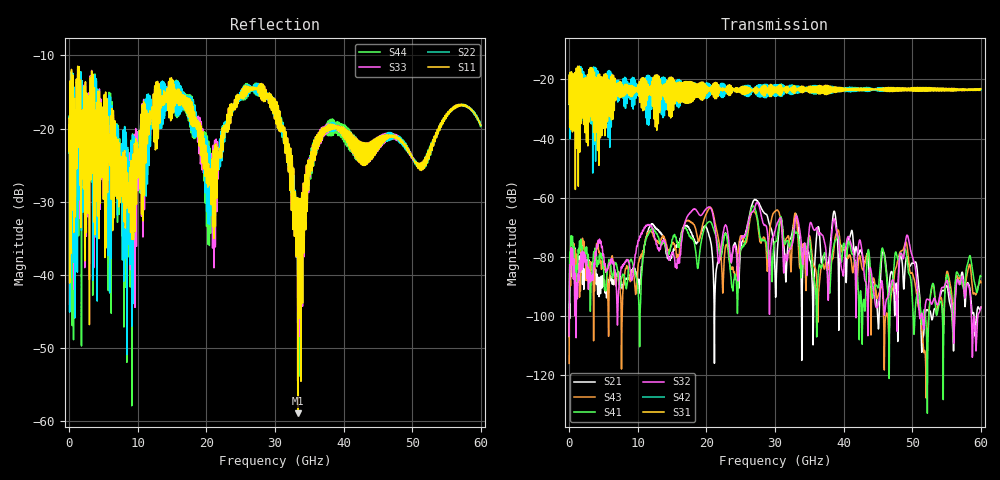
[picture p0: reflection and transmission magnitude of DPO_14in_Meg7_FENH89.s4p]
! Tyco Electronics Strada Whisper System
! FEXT_H89_G1112
!! SYSTEM DESCRIPTION: Daughtercard-Footprint-Connector-Footprint-Daughtercard
!! PCB DESCRIPTION: DC: 140mil, Megtron7N, upper layer route, 15mil stub, 6-6-6mil 14" traces
!! CONNECTOR DESCRIPTION: Next-Gen STRADA Whisper Direct-Plug Orthogonal Connector
!! MODEL DESCRIPTION: Tyco Electronics System 4-port S-parameter
!! MODEL STATUS: Developmental
!! MODEL GEOMETRY: Channel Model
!! MODEL FREQUENCY RANGE: DC to 60 GHz in 10 MHz frequency steps
!! MODEL EDGE RATE LIMITATION: 8.3 ps (Using conservative 0.5/Fmax rule of thumb)
!! TIME-DOMAIN TRANSFORM CAUTIONS:
!! 1.) Do not simulate transient edge rates faster than the number listed above.  Edge rates faster than this number
!!  contain significant spectral content at frequencies above the model's highest frequency.
!! 2.) Even when simulating edge rates that are slower than the number listed above, be aware that the best time
!!  resolution possible with a direct iFFT is (1 / 2Fmax).  As a result, time resolution is typically not adequate
!!  for most time-domain simulations unless tricks such as windowing are used to minimize leakage and aliasing.
!! 3.) Because the model has a uniform frequency step, a direct iFFT will result in an impulse that that has a time
!!  length given by either (1 / Fstep) or (1 / 2Fstep), depending on the transform being used.  Care has been taken
!!  in selecting the frequency step to ensure a settled impulse response for the model.  Therefore, convolution with
!!  the model's impulse response should present no issues.  However, if directly concatenating s-parameter models
!!  in the frequency domain a user must either interpolate necessary interim frequencies or complete impulse response
!!  zero-padding.  Impulse response zero-padding is more difficult, but more accurate.
!! PORT DEFINITIONS:
!! Port  1  ----->  TX Side	H8  G11  RX Side  <-----  Port  3
!! Port  2  ----->  TX Side	H9  G12  RX Side  <-----  Port  4
!!!!!!!!!!!!!!!!!!!!!!!!!!!!!!!!!!!!!!!!!!!!!!!!!!!!!!!!!!!!!!!!!!!!!!!!!!!!!!!!!!!!!!!!!!!!!!!!!!!!!!!!!!!!!!!!!!!!!!!!! Touchstone data
! Created: 10-Dec-2018 by IdEM R2012 (8.0.5)
# Hz S MA R 50
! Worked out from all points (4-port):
!   6000 points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, 10 MHz to 60 GHz, reference 50 ohm
!   strongest paths, dB at 10 MHz, 15.01 GHz, 30.01 GHz, 45.01 GHz, 60 GHz:
!     S31: -28.4, -30.5, -23.0, -23.2, -23.2
!     S42: -28.4, -22.0, -24.2, -23.2, -23.6
!     S32: -106.6, -78.4, -71.3, -96.3, -96.9
!     S41: -102.0, -74.1, -74.9, -90.4, -86.5
!     S43: -115.9, -75.4, -64.7, -93.2, -88.7
!     S21: -107.0, -78.5, -85.6, -102.6, -97.0
!   lowest |S11| = -59.0 dB at 33.32 GHz (marker M1), VSWR 1.00, Z = 50 - j0.105 ohm
!   |S11| at or under -10 dB: start of sweep to end of sweep
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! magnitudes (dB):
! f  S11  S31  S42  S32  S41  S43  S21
! 10 MHz  -23.2  -28.4  -28.4  -106.6  -102.0  -115.9  -107.0
! 20.36 GHz  -25.2  -22.9  -25.5  -63.1  -68.1  -63.8  -72.4
! 24.72 GHz  -15.4  -23.3  -24.2  -83.0  -83.8  -76.1  -90.5
! 27.55 GHz  -15.1  -23.1  -22.1  -62.0  -68.7  -70.0  -61.5
! 30.09 GHz  -17.0  -23.0  -21.8  -70.4  -74.8  -64.4  -93.4
! 33.32 GHz  -59.0  -23.7  -24.6  -67.2  -72.5  -72.5  -68.4
! 60 GHz  -19.6  -23.2  -23.6  -96.9  -86.5  -88.7  -97.0
